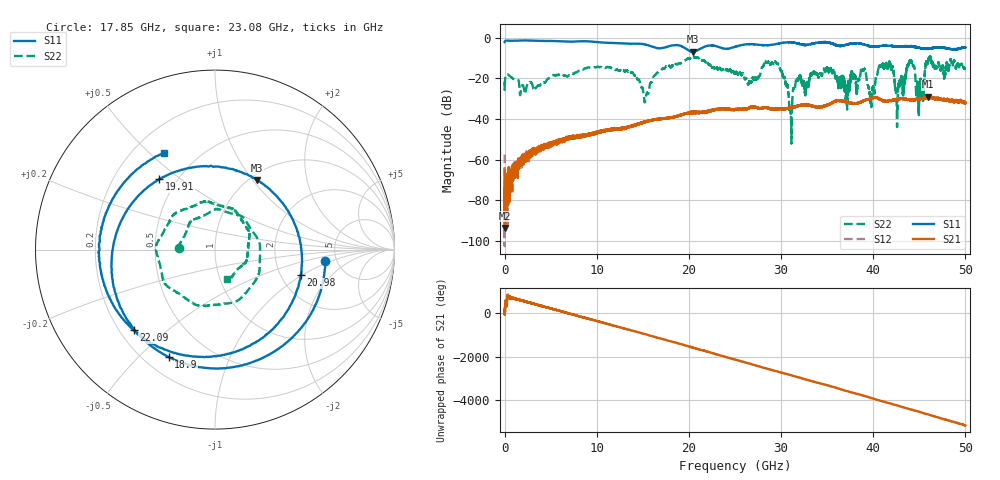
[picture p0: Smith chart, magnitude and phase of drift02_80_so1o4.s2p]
!Created with skrf (http://scikit-rf.org).
# Hz S RI R 50.0
!freq ReS11 ImS11 ReS21 ImS21 ReS12 ImS12 ReS22 ImS22
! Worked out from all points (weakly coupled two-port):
!   10001 points, 300 kHz to 50 GHz, reference 50 ohm
!   highest |S21| = -28.99 dB at 45.97 GHz (marker M1); lowest = -93.6 dB at 65.3 MHz (marker M2)
!   lowest |S11| = -6.9 dB at 20.41 GHz (marker M3), VSWR 2.64, Z = 54 + j52.3 ohm
!   |S11| at or under -10 dB: nowhere
!   |S22| runs from -52.2 to -9.0 dB; largest |S21 - S12| = 0.0034
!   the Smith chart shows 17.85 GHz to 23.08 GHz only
!   S11 on the Smith chart (normalised r, x): 17.85 GHz: 4.04, -0.86; 18.9 GHz: 0.30, -0.62; 19.91 GHz: 0.40, +0.42; 20.98 GHz: 2.56, -0.98; 22.09 GHz: 0.26, -0.39; 23.08 GHz: 0.32, +0.56
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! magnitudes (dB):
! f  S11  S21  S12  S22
! 300 kHz  -2.1  -64.9  -57.5  -21.7
! 65.3 MHz  -1.6  -93.6  -75.0  -19.8
! 8.335 GHz  -1.7  -48.7  -48.4  -15.7
! 15.33 GHz  -3.4  -41.3  -41.2  -29.3
! 16.67 GHz  -5.2  -40.0  -40.2  -17.0
! 17.85 GHz  -4.2  -39.6  -39.3  -13.8
! 18.9 GHz  -3.7  -38.5  -38.5  -12.5
! 19.91 GHz  -6.0  -37.1  -37.0  -10.1
! 20.41 GHz  -6.9  -37.0  -36.8  -10.0
! 20.98 GHz  -6.0  -37.0  -36.9  -9.7
! 22.09 GHz  -3.9  -36.2  -36.3  -12.7
! 23.08 GHz  -4.3  -35.3  -35.1  -15.0
! 25 GHz  -4.5  -35.3  -35.3  -17.5
! 29.51 GHz  -3.1  -35.1  -35.0  -12.6
! 31.03 GHz  -2.2  -34.4  -34.7  -36.7
! 33.34 GHz  -3.0  -33.6  -33.6  -17.9
! 38.92 GHz  -3.2  -31.1  -31.2  -16.1
! 39.88 GHz  -4.4  -29.9  -29.8  -27.8
! 41.67 GHz  -3.9  -31.0  -31.2  -12.9
! 42.6 GHz  -4.3  -30.4  -30.2  -41.8
! 45.97 GHz  -5.4  -29.0  -29.3  -10.9
! 50 GHz  -4.7  -31.8  -31.5  -16.4
